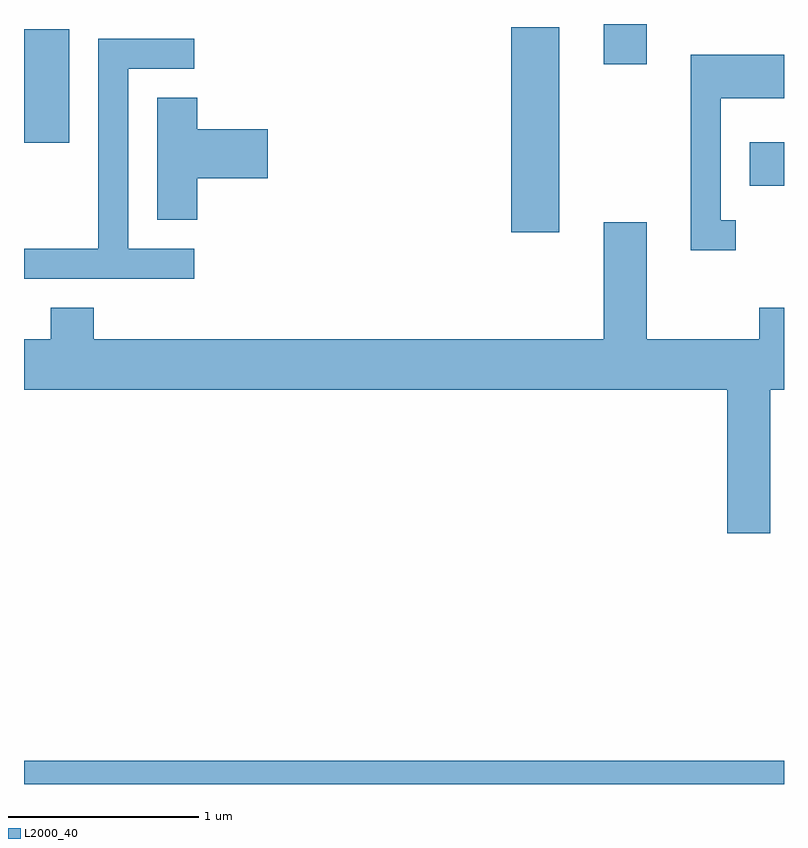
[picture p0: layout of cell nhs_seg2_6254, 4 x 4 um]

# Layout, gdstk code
import gdstk
lib = gdstk.Library(unit=1e-6, precision=1e-09)
def R(c, l, rs):  # rectangles x0, y0, x1, y1
    for r in rs: c.add(gdstk.rectangle(r[:2], r[2:], *l))
def P(c, l, *ps):  # polygons
    for p in ps: c.add(gdstk.Polygon(p, *l))
L2000_40 = (2000, 40)

nhs_seg2_6254 = lib.new_cell('nhs_seg2_6254')
R(nhs_seg2_6254, L2000_40, [(369.611,1041.802,373.611,1041.924), (372.176,1044.706,372.429,1045.784), (373.431,1044.951,373.611,1045.179), (369.611,1045.176,369.849,1045.774), (372.661,1045.591,372.889,1045.802)])
P(nhs_seg2_6254, L2000_40, [(370.508,1044.619),(370.159,1044.619),(370.159,1045.566),(370.508,1045.566),(370.508,1045.724),(370.001,1045.724),(370.001,1044.619),(369.611,1044.619),(369.611,1044.461),(370.508,1044.461)],
  [(373.358,1044.769),(373.279,1044.769),(373.279,1045.411),(373.611,1045.411),(373.611,1045.639),(373.121,1045.639),(373.121,1044.611),(373.358,1044.611)],
  [(370.524,1044.991),(370.894,1044.991),(370.894,1045.249),(370.524,1045.249),(370.524,1045.414),(370.311,1045.414),(370.311,1044.771),(370.524,1044.771)],
  [(373.539,1043.876),(373.611,1043.876),(373.611,1044.309),(373.481,1044.309),(373.481,1044.144),(372.889,1044.144),(372.889,1044.759),(372.661,1044.759),(372.661,1044.144),(369.979,1044.144),(369.979,1044.309),(369.751,1044.309),(369.751,1044.144),(369.611,1044.144),(369.611,1043.876),(373.311,1043.876),(373.311,1043.121),(373.539,1043.121)])

lib.write_gds('nhs_seg2_6254.gds')
